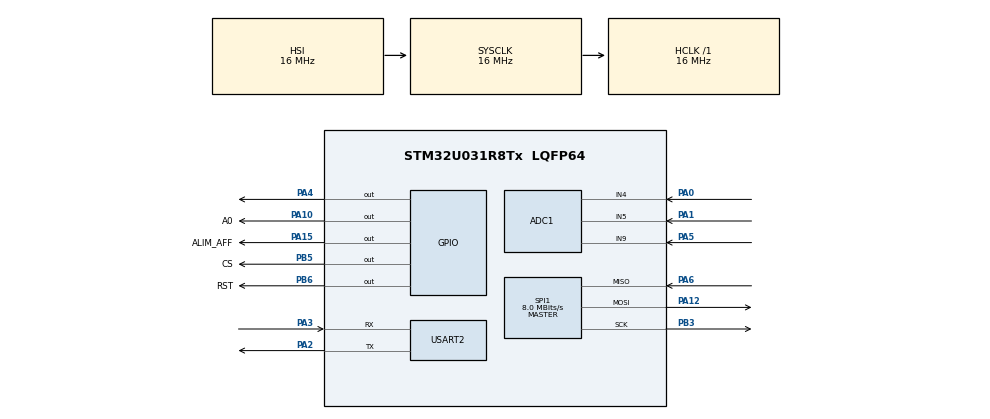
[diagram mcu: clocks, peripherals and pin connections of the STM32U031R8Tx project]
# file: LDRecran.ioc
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ADC1.Channel-7\#ChannelRegularConversion=ADC_CHANNEL_9
ADC1.Channel-8\#ChannelRegularConversion=ADC_CHANNEL_4
ADC1.ClockPrescaler=ADC_CLOCK_ASYNC_DIV4
ADC1.ContinuousConvMode=ENABLE
ADC1.DMAContinuousRequests=ENABLE
ADC1.DiscontinuousConvMode=DISABLE
ADC1.EnableAnalogWatchDog1=false
ADC1.LowPowerAutoWait=ENABLE
ADC1.NbrOfConversion=2
ADC1.NbrOfConversionFlag=1
ADC1.Overrun=ADC_OVR_DATA_OVERWRITTEN
ADC1.Rank-8\#ChannelRegularConversion=2
ADC1.RankArg-7\#ChannelRegularConversion=ADC_REGULAR_RANK_1
ADC1.RankArg-8\#ChannelRegularConversion=ADC_REGULAR_RANK_2
ADC1.SamplingTime-8\#ChannelRegularConversion=ADC_SAMPLINGTIME_COMMON_1
ADC1.SamplingTimeCommon1=ADC_SAMPLETIME_160CYCLES_5
ADC1.SamplingTimeCommon2=ADC_SAMPLETIME_160CYCLES_5
ADC1.SelectedChannel=ADC_CHANNEL_4|ADC_CHANNEL_5|ADC_CHANNEL_9|ADC_CHANNEL_VBAT
ADC1.master=1
Dma.ADC1.0.Direction=DMA_PERIPH_TO_MEMORY
Dma.ADC1.0.EventEnable=DISABLE
Dma.ADC1.0.Instance=DMA1_Channel1
Dma.ADC1.0.MemDataAlignment=DMA_MDATAALIGN_HALFWORD
Dma.ADC1.0.MemInc=DMA_MINC_ENABLE
Dma.ADC1.0.Mode=DMA_CIRCULAR
Dma.ADC1.0.PeriphDataAlignment=DMA_PDATAALIGN_HALFWORD
Dma.ADC1.0.PeriphInc=DMA_PINC_DISABLE
Dma.ADC1.0.Polarity=HAL_DMAMUX_REQ_GEN_RISING
Dma.ADC1.0.Priority=DMA_PRIORITY_LOW
Dma.ADC1.0.RequestNumber=1
Dma.ADC1.0.SignalID=NONE
Dma.ADC1.0.SyncEnable=DISABLE
Dma.ADC1.0.SyncPolarity=HAL_DMAMUX_SYNC_NO_EVENT
Dma.ADC1.0.SyncRequestNumber=1
Dma.ADC1.0.SyncSignalID=NONE
Dma.Request0=ADC1
Mcu.Family=STM32U0
Mcu.Name=STM32U031R8Tx
Mcu.Package=LQFP64
NUCLEO-U031R8.BUTTON=1
NUCLEO-U031R8.LD4=false
NUCLEO-U031R8.VCP=false
NVIC.ADC_COMP1_IRQn=true\:0\:0\:false\:false\:true\:true\:true\:true
NVIC.DMA1_Channel1_IRQn=true\:0\:0\:false\:false\:true\:false\:true\:true
NVIC.EXTI4_15_IRQn=true\:0\:0\:false\:false\:true\:false\:true\:true
NVIC.PriorityGroup=NVIC_PRIORITYGROUP_2
NVIC.RTC_TAMP_IRQn=true\:0\:0\:false\:false\:true\:true\:true\:true
NVIC.TIM6_DAC_LPTIM1_IRQn=true\:0\:0\:false\:false\:true\:true\:true\:true
PA0.Mode=IN4
PA0.Signal=ADC1_IN4
PA0.Stacked=true
PA1.Mode=IN5
PA1.Signal=ADC1_IN5
PA10.GPIO_Label=A0
PA10.Signal=GPIO_Output
PA12\ [PA10].Mode=Full_Duplex_Master
PA12\ [PA10].Signal=SPI1_MOSI
PA13\ (SWDIO).GPIO_Label=SWDIO
PA13\ (SWDIO).Signal=DEBUG_JTMS-SWDIO
PA14\ (SWCLK).GPIO_Label=SWCLK
PA14\ (SWCLK).Signal=DEBUG_JTCK-SWCLK
PA15.GPIO_Label=ALIM_AFF
PA15.Signal=GPIO_Output
PA2.Mode=Asynchronous
PA2.Signal=USART2_TX
PA2.Stacked=true
PA3.Mode=Asynchronous
PA3.Signal=USART2_RX
PA3.Stacked=true
PA4.Signal=GPIO_Output
PA4.Stacked=true
PA5.Mode=IN9
PA5.Signal=ADC1_IN9
PA6.Mode=Full_Duplex_Master
PA6.Signal=SPI1_MISO
PB3.Mode=Full_Duplex_Master
PB3.Signal=SPI1_SCK
PB5.GPIO_Label=CS
PB5.Signal=GPIO_Output
PB6.GPIO_Label=RST
PB6.Signal=GPIO_Output
PB8.GPIO_Label=I2C1_SCL
PB8.Signal=I2C1_SCL
PB9.GPIO_Label=I2C1_SDA
PB9.Signal=I2C1_SDA
PC14-OSC32_IN.GPIO_Label=OSC32_IN
PC14-OSC32_IN.Signal=RCC_OSC32_IN
PC15-OSC32_OUT.GPIO_Label=OSC32_OUT
PC15-OSC32_OUT.Signal=RCC_OSC32_OUT
PF0-OSC_IN.GPIO_Label=OSC_IN
PF0-OSC_IN.Signal=RCC_OSC_IN
PF1-OSC_OUT.GPIO_Label=OSC_OUT
PF1-OSC_OUT.Signal=RCC_OSC_OUT
ProjectManager.HeapSize=0x200
ProjectManager.StackSize=0x400
ProjectManager.TargetToolchain=STM32CubeIDE
RCC.AHBFreq_Value=16000000
RCC.CortexFreq_Value=16000000
RCC.HCLKFreq_Value=16000000
RCC.HSE_VALUE=4000000
RCC.HSI48_VALUE=48000000
RCC.HSI_VALUE=16000000
RCC.LSE_VALUE=32768
RCC.MSI_VALUE=4000000
RCC.SYSCLKFreq_VALUE=16000000
RCC.VCOOutputFreq_Value=64000000
SPI1.CalculateBaudRate=8.0 MBits/s
SPI1.Direction=SPI_DIRECTION_2LINES
SPI1.Mode=SPI_MODE_MASTER
SPI1.VirtualType=VM_MASTER
USART2.VirtualMode-Asynchronous=VM_ASYNC
VP_ADC1_Vbat_Input.Mode=IN-Vbat
VP_DAC1_VS_DACI1.Mode=DAC_OUT1_Int
VP_NUCLEO-U031R8_VS_BSP_COMMON.Mode=COMMON
VP_PWR_VS_SECSignals.Mode=Security/Privilege
VP_RTC_VS_RTC_Activate.Mode=RTC_Enabled
VP_RTC_VS_RTC_WakeUp_intern.Mode=WakeUp
board=NUCLEO-U031R8

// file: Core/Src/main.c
/* USER CODE BEGIN Header */
/**
  ******************************************************************************
  * @file           : main.c
  * @brief          : Main program body
  ******************************************************************************
  * @attention
  *
  * Copyright (c) 2026 STMicroelectronics.
  * All rights reserved.
  *
  * This software is licensed under terms that can be found in the LICENSE file
  * in the root directory of this software component.
  * If no LICENSE file comes with this software, it is provided AS-IS.
  *
  ******************************************************************************
  */
/* USER CODE END Header */
#include "main.h"

/* USER CODE BEGIN Includes */
#include "stdio.h"
#include "string.h"
#include "math.h"
// pour Ecran
#include <stdbool.h>
#include "lcd.h"
#include "graphics.h"
#include "bibliotheque.h"
#include "menu.h"
#include "variables_globales.h"
/* USER CODE END Includes */

/* USER CODE BEGIN PD */

  //==================================================================//
 //                DEFINITION PARTIE ÉNERGIE PILE                    //
//==================================================================//

// Définition des seuils basés sur la datasheet Energizer (4 piles en série)
#define V_100_Pourcent 6.0f //1.5V x 4
#define V_75_Pourcent   5.2f  // 1.3V x 4
#define V_50_Pourcent   4.8f  // 1.2V x 4
#define V_20_Pourcent   4.4f  // 1.1V x 4 (Point de rupture)
#define V_0_Pourcent    4.0f  // 1.0V x 4 (Seuil critique)

// Reglage de l'OFFSET pour la batterie
#define OFFSET_BAT 0.112f //retire 0,112V à la valeur finale

/* USER CODE END PD */

ADC_HandleTypeDef hadc1;
DMA_HandleTypeDef hdma_adc1;

DAC_HandleTypeDef hdac1;

RTC_HandleTypeDef hrtc;

SPI_HandleTypeDef hspi1;

UART_HandleTypeDef huart2;

/* USER CODE BEGIN PV */

uint32_t adc_buffer[2]; //[0] = IN5 (Rank1, LDR),  [1] = IN4 (Rank2, batterie)
volatile uint8_t adc_ready = 0; // flag levé par le DMA quand les données sont prêtes

/*----- Ecran Batterie ----- */
// Variables pour le menu LCD
uint8_t ON      = 0;
uint8_t DWN     = 0;
uint8_t HUP     = 0;
uint8_t RTN     = 0;
uint8_t ecran   = 0;
uint8_t langue  = 2;   // Français par défaut
uint8_t varmenu = 0;

// Variables temps RTC
RTC_TimeTypeDef sTime = {0};
time_t temps = 0;
struct tm tm_temps = {0};
int8_t UTC = 1;
int8_t absUTC = 1;

// Variables modes
uint8_t modeO = 1;
uint8_t modeF = 1;
int8_t  heureO = 7, minO = 0;
int8_t  heureF = 21, minF = 0;
int8_t  minretard = 0;
int8_t  minretardchange = 0;
int8_t  latitude = 48;
int16_t longitude = 2;
uint8_t choixi = 1;
uint8_t sens = 0;

// Variables boutons (pour menu.c)
uint8_t touche_ON  = 0;
uint8_t touche_HUP = 0;
uint8_t touche_DWN = 0;
uint8_t touche_RTN = 0;
int8_t  Touche_2_On = 0;
uint8_t Touche_3_On = 0;
uint16_t Compteur_appui_touche = 0;
short tempmescourant = 0;
uint32_t tensionpile = 0;

// UART série → commande écran
uint8_t uart_rx_byte = 0;

   //==================================================================//
  //                INITIALISATION PARTIE LUMINOSITÉ                  //
 //==================================================================//

// Variable pour la mesure de la luminosité
uint16_t adc_value = 0;
float voltage = 0.0f;
float R_ldr = 0.0f;
float lux = 0.0f;
char msg[100];

// Paramètres du montage
const float R_FIXED =  100000.0f; //22000.0f; // résistance de 100k // Mesure Luminosité
const float VCC = 3.3f;

  //==================================================================//
 //               INITIALISATION PARTIE ÉNERGIE PILE                 //
//==================================================================//

// Variable pour l'estimation de l'énergie
uint32_t adc_32 = 0;   // Valeur brute lue par l'ADC (0-4095)
uint16_t adc_bat_value = 0;   // Valeur brute lue par l'ADC (0-4095)
float v_bat_measurer = 0.0f;  // Tension lue sur la pin PA0
float v_bat_reel = 0.0f;      // Tension réelle de la pile (après correction du pont)
int bat_pourcentage = 0;       // Résultat final en %

// Paramètres du montage
const float R10 = 560000.0f; //res 560k Ohm
const float R11 = 330000.0f; //res 330k Ohm

// Pont Diviseur Pile
const float PDP_Bat_Coef= (R11+R10)/ R11;

// Seuil des Piles (6V)
const float V_MAX = 6.0f; // 100% //précédement mis à 6V
const float V_MIN = 4.0f; // 0%

//Lissage pour que le résultat soit stable
float v_bat_lisse = 0.0f;

//Nombre d'échantillons
const int nb_echantillons = 10;

   //==================================================================//
  //               		MISE EN VEILLE PROCESSEUR                     //
 //==================================================================//

//uint32_t duree_veille = 60000; // 120 000 ms = 2 minutes
uint8_t compteur_minutes = 0; // Compte les minutes en veille

//==================================================================//
//               		Pour écran Touche 			                //
//==================================================================//
uint8_t touche_ON;
uint8_t Drapeau_commande_recue = 0; // Le Drapeau de l'interruption
char rx_buffer[10]; // Tableau de stockage de la trame

/* USER CODE END PV */

void SystemClock_Config(void);
static void MX_GPIO_Init(void);
static void MX_DMA_Init(void);
static void MX_USART2_UART_Init(void);
static void MX_ADC1_Init(void);
static void MX_DAC1_Init(void);
static void MX_RTC_Init(void);
static void MX_SPI1_Init(void);
/* USER CODE BEGIN PFP */
uint8_t estimer_pourcentage_batterie(float v_bat_reel); // car besoin d'un prototype pour le pourcentage

//Prévient que l'outil existe (Prototype)
float lisser_tension_batterie(float nouvelle_lecture);

//Mise en veille du processeur
void Aller_Au_Dodo(void);

/*----- Ecran Batterie ----- */
void menu(void);

/* USER CODE END PFP */

/* USER CODE BEGIN 0 */
void lire_commandes(void) {
	if (Drapeau_commande_recue == true) {

		if (strcmp(rx_buffer, "ON") == 0) {
			touche_ON = 1;
			HAL_UART_Transmit(&huart2, (uint8_t*)"--> Action: ON\r\n", 16, 100);
		}
	}
}
/* USER CODE END 0 */

int main(void)
{

  /* MCU Configuration--------------------------------------------------------*/

  /* Reset of all peripherals, Initializes the Flash interface and the Systick. */
  HAL_Init();

  /* Configure the system clock */
  SystemClock_Config();

  /* Initialize all configured peripherals */
  MX_GPIO_Init();
  MX_DMA_Init();
  MX_USART2_UART_Init();
  MX_ADC1_Init();
  MX_DAC1_Init();
  MX_RTC_Init();
  MX_SPI1_Init();
  /* USER CODE BEGIN 2 */
  HAL_ADCEx_Calibration_Start(&hadc1);
  HAL_GPIO_WritePin(GPIOA, GPIO_PIN_4, GPIO_PIN_SET); // Alimente le pont diviseur
  HAL_Delay(10);
  HAL_ADC_Start_DMA(&hadc1, (uint32_t*)adc_buffer, 2); // Lance l'acquisition DMA en continu

  /*----- Ecran Batterie ----- */
  initialise_LCD();
  clearScreen(1);
  ecran = 0;
  HAL_UART_Receive_IT(&huart2, &uart_rx_byte, 1);

  // --- Initialisation écran LCD ---
  initialise_LCD();   // allume, reset hardware, init logicielle, efface l'écran
  clearScreen(1);
  ecran = 0;          // démarre sur l'écran 0 (attend appui ON)

  // --- Lancement réception UART en interruption ---
  HAL_UART_Receive_IT(&huart2, &uart_rx_byte, 1);

  //==================================================================//
 //                        PARTIE ÉNERGIE PILE                       //
//==================================================================//
  /* // --- LE PRÉCHAUFFAGE FORCÉ ---
    // On attend la toute première mesure réelle
    while(adc_ready == 0);

    // On récupère la valeur brute et on calcule la tension réelle
    float v_init = (((float)(adc_buffer[1] & 0xFFFF)) * VCC / 4095.0f * PDP_Bat_Coef) + OFFSET_BAT;
    // note : 0xFFFF correspond à 65535 (valeur max que l'on peu stocker dans un registre de 16 bits

    // On remplit le filtre 50 fois avec cette valeur pour le "gaver" immédiatement
    for(int i = 0; i < 50; i++) {
        v_bat_lisse = lisser_tension_batterie(v_init);
    }

*/

  // MISE EN VEILLE
  //Nettoyage de sécurité au démarrage
  __HAL_RTC_WAKEUPTIMER_CLEAR_FLAG(&hrtc, RTC_FLAG_WUTF);
    HAL_RTCEx_DeactivateWakeUpTimer(&hrtc);

    //Forcer l'activation de l'interruption RTC dans le contrôleur de la puce (NVIC)
    // Même si CubeMX est censé le faire, cette ligne sécurise le coup
    HAL_NVIC_SetPriority(RTC_TAMP_IRQn, 0, 0);
    HAL_NVIC_EnableIRQ(RTC_TAMP_IRQn);

  /* USER CODE END 2 */

  /* Initialize USER push-button, will be used to trigger an interrupt each time it's pressed.*/
  BSP_PB_Init(BUTTON_USER, BUTTON_MODE_EXTI);

  /* Infinite loop */
  /* USER CODE BEGIN WHILE */
  while (1)
    {
	  /*----- Ecran Batterie ----- */
	  menu();
	  //==================================================================//
	 //                          LANCEMENT DES ADC                       //
	//==================================================================//

      // Lecture de la tension sur PA5 (LDR_INFO) // mesurer luminosité
      /**HAL_ADC_Start(&hadc1);
      if (HAL_ADC_PollForConversion(&hadc1, 100) == HAL_OK)
      {
          adc_value = HAL_ADC_GetValue(&hadc1);
      }

      // Lecture de la tension sur PA0 // Estimation de batterie (PILE)
      if (HAL_ADC_PollForConversion(&hadc1, 100) == HAL_OK)
           {
               adc_bat_value = HAL_ADC_GetValue(&hadc1);
           }

      HAL_ADC_Stop(&hadc1);
*/
/*
      //==================================================================//
     //               		MISE EN VEILLE PROCESSEUR                    //
    //==================================================================//
	  // On rallume le pont AVANT de vérifier si l'ADC est prêt
	        HAL_GPIO_WritePin(GPIOA, GPIO_PIN_4, GPIO_PIN_SET);

	        // On laisse 150ms à la TENSION physique pour remonter et se stabiliser
	        // C'est ce délai qui va corriger ton "0.47V"
	        HAL_Delay(5000);
*/
	        // On attend que le DMA ait fini sa première nouvelle capture
	        while(adc_ready == 0);

	      if (adc_ready == 1)
	      {
	          adc_ready = 0;   // on remet le flag à 0

	  // Lecture DMA : les valeurs sont mises à jour automatiquement en fond de tâche
	  adc_32  = adc_buffer[0];
	  //adc_value     = adc_buffer[0];   // IN5 (PA5) — LDR luminosité
	  //adc_bat_value = adc_buffer[1];   // IN4 (PA4) — pont diviseur batterie
	  adc_value     = adc_32&0xFFFF;   // IN5 (PA5) — LDR luminosité
	  adc_bat_value = (adc_32&0xFFFF0000)>>16;   // IN4 (PA4) — pont diviseur batterie

      //==================================================================//
     //                          PARTIE LUMINOSITÉ                       //
    //==================================================================//

      //  Conversion : Chiffre ADC -> Tension (Volt)
      voltage = (float)adc_value * VCC / 4095.0;

      // Calcul de la partie entière et des deux premières décimales
      	  //int volt_entier = (int)voltage;
      	  //int volt_decimale = (int)((voltage - volt_entier) * 100);

      //  Calcul de la résistance de la LDR puis des Lux
      	  // On vérifie que voltage > 0 pour éviter de diviser par zéro
      if (voltage > 0.1f) {
          // Formule du pont diviseur inversée pour trouver R_ldr
          R_ldr = (VCC * R_FIXED/ voltage) - R_FIXED;

          // Formule d'approximation Lux (standard pour une LDR de 10k-100k)
          // Lux = 500 / (R_ldr en kOhm)
          //lux = 500.0 / (R_ldr / 1000.0);
          lux = pow(10,((log10(R_ldr/1000.0f)-2.94)/-0.789));
          //V1 pow(10,((log(R_ldr/1000.0f)-3)/-0.91)
          //V2 pow(10,((log10(R_ldr/1000.0f)-2.88)/-0.76))
      } else {
          lux = 0.0;
      }
      //Décomposition pour affichage sans %f
          int volt_entier = (int)voltage;
          int volt_dec    = (int)((voltage - volt_entier) * 100);
          int rldr_kohm   = (int)(R_ldr / 1000.0f);
          int lux_entier  = (int)lux;
          int lux_dec     = (int)((lux - lux_entier) * 10);

          //==================================================================//
         //                        PARTIE ÉNERGIE PILE                       //
        //==================================================================//

//LISSAGE DIRECT DE LA VALEUR BRUTE ADC
// On passe la valeur brute 'adc_bat_value' (0-4095) dans le filtre
        // float adc_bat_moyen = lisser_tension_batterie(adc_bat_value);

//Tension sur la PIN PA0 (entre 0 et 3.3V car elle ne prend que 3.3V)
          v_bat_measurer = ((float)adc_bat_value) * VCC / 4095.0;
			//v_bat_measurer = (adc_bat_moyen) * VCC / 4095.0;

// Tension Réel des piles (Application du Coef)
          //v_bat_reel = v_bat_measurer * PDP_Bat_Coef;
          v_bat_lisse = (v_bat_measurer * PDP_Bat_Coef) + OFFSET_BAT;

          // Lissage de V_bat_reel
         // v_bat_lisse = lisser_tension_batterie(v_bat_reel); // obtention d'une valeur stable

 /*         // Ajout de l'Offset pour corriger la mesure
          v_bat_reel = v_bat_reel + OFFSET_BAT;
 */
          HAL_Delay(100); // 10 mesures * 100ms = 1 seconde totale pour la moyenne

      //Calcul du pourcentage (Produit en croix entre V_MIN et V_MAX) -- Calcul linéaire -- pas bon car les piles n'ont pas une courbe linéaire
      if (v_bat_lisse > V_MIN){
    	  bat_pourcentage = (int)(((v_bat_lisse - V_MIN)/(V_MAX - V_MIN))*100.0f);
      } else {
    	  bat_pourcentage = 0;
      }

      // --- Calcul du pourcentage de l'Energie via la table de correspondance (table de correspondance) ---
      //uint8_t mon_pourcentage = estimer_pourcentage_batterie(v_bat_reel);

      // Sécurité pour ne pas afficher 102% ou -2%
          if (bat_pourcentage > 100) bat_pourcentage = 100;
          if (bat_pourcentage < 0)   bat_pourcentage = 0;

      //Décomposition pour affichage sans %f
          int v_entier = (int)v_bat_lisse;
          int v_dec = (int)((v_bat_lisse - v_entier) * 100);

          //==================================================================//
         //                       AFFICHAGE LIAISON SÉRIE                    //
        //==================================================================//

         //Affichage Luminosité
       // Affichage sur le PC (VCP / USART2)
      // On affiche l'entier (int)lux pour être sûr que ça s'affiche sans config spéciale
      //int len = sprintf(msg, "ADC: %lu |Tension : %d.%02dV | Lux estimat: %d\r\n", adc_value, voltage, (int)lux);
         int len = sprintf(msg, "ADC:%4lu | V:%d.%02dV | R_ldr:%d kohm | Lux:%d.%d\r\n", adc_value, volt_entier, volt_dec, rldr_kohm, lux_entier, lux_dec);
          HAL_UART_Transmit(&huart2, (uint8_t*)msg, len, HAL_MAX_DELAY);

/*          HAL_Delay(500); // On attend 0.5 secondes entre chaque mesure
*/

          //Affichage Batterie Restante
          int len2 = sprintf(msg, "BAT: %4lu | Tension: %d.%02dV | Energie: %d%%\r\n\r\n",
                  adc_bat_value, v_entier, v_dec, bat_pourcentage); // ancienne partie de code
        		  //adc_bat_value, v_entier, v_dec, mon_pourcentage);
              HAL_UART_Transmit(&huart2, (uint8_t*)msg, len2, 100);

             HAL_Delay(1000); // On attend 0.5 secondes entre chaque mesures

/*          int len3 = sprintf(msg, "BRUT_LDR: %lu | BRUT_BAT: %lu\r\n", adc_value, adc_bat_value);
              HAL_UART_Transmit(&huart2, (uint8_t*)msg, len3, 100);
*/
      // 5. COMMANDE DE LA LED (Seuil : 50 Lux)
      //if (lux < 50.0) {
      //    HAL_GPIO_WritePin(GPIOA, GPIO_PIN_4, GPIO_PIN_SET);   // Allume (Nuit)
      //} else {
      //    HAL_GPIO_WritePin(GPIOA, GPIO_PIN_4, GPIO_PIN_RESET); // Éteint (Jour)
      //}

              //==================================================================//
             //               		MISE EN VEILLE PROCESSEUR                    //
            //==================================================================//
/*
              // On éteint le pont diviseur (PA4) pour ne pas vider les piles pendant les 2 min
                    HAL_GPIO_WritePin(GPIOA, GPIO_PIN_4, GPIO_PIN_RESET);

             // On entre en mode sommeil (Sleep Mode) pour réduire la consommation du CPU
             // Le CPU s'arrêtera ici et se réveillera brièvement toutes les 1ms (SysTick) pour le Delay
                    HAL_PWR_EnterSLEEPMode(PWR_MAINREGULATOR_ON, PWR_SLEEPENTRY_WFI);

             // 3. On attend les 2 minutes
                    HAL_Delay(duree_veille);

            // 4. Au réveil, on rallume le pont diviseur pour la prochaine lecture
                    HAL_GPIO_WritePin(GPIOA, GPIO_PIN_4, GPIO_PIN_SET);

             // 5. On laisse un tout petit délai pour que la tension se stabilise avant la prochaine conversion
                    HAL_Delay(10);
*/
             /* Nettoyage des flags RTC */
             HAL_PWR_EnableBkUpAccess();
             HAL_RTCEx_DeactivateWakeUpTimer(&hrtc);
             __HAL_RTC_WAKEUPTIMER_CLEAR_FLAG(&hrtc, RTC_FLAG_WUTF);
             EXTI->RPR1 = (1 << 19);
             EXTI->FPR1 = (1 << 19);

             /* Armement : 299 = 5 minutes à 1Hz (RTC_WAKEUPCLOCK_CK_SPRE_16BITS) */
             /* Pour 5 min : valeur = (5 * 60) - 1 = 299                           */
             /* Pour 10 min : valeur = (10 * 60) - 1 = 599                         */
             if (HAL_RTCEx_SetWakeUpTimer_IT(&hrtc, 5,
                     RTC_WAKEUPCLOCK_CK_SPRE_16BITS, 0) == HAL_OK)
             {
                 Aller_Au_Dodo();
             }
             else
             {
                 NVIC_SystemReset();

	      }

	      }
    }
    /* USER CODE END WHILE */

}

void SystemClock_Config(void)
{
  RCC_OscInitTypeDef RCC_OscInitStruct = {0};
  RCC_ClkInitTypeDef RCC_ClkInitStruct = {0};

  /** Configure the main internal regulator output voltage
  */
  HAL_PWREx_ControlVoltageScaling(PWR_REGULATOR_VOLTAGE_SCALE2);

  /** Initializes the RCC Oscillators according to the specified parameters
  * in the RCC_OscInitTypeDef structure.
  */
  RCC_OscInitStruct.OscillatorType = RCC_OSCILLATORTYPE_HSI|RCC_OSCILLATORTYPE_LSI;
  RCC_OscInitStruct.HSIState = RCC_HSI_ON;
  RCC_OscInitStruct.HSICalibrationValue = RCC_HSICALIBRATION_DEFAULT;
  RCC_OscInitStruct.LSIState = RCC_LSI_ON;
  RCC_OscInitStruct.PLL.PLLState = RCC_PLL_NONE;
  if (HAL_RCC_OscConfig(&RCC_OscInitStruct) != HAL_OK)
  {
    Error_Handler();
  }

  /** Initializes the CPU, AHB and APB buses clocks
  */
  RCC_ClkInitStruct.ClockType = RCC_CLOCKTYPE_HCLK|RCC_CLOCKTYPE_SYSCLK
                              |RCC_CLOCKTYPE_PCLK1;
  RCC_ClkInitStruct.SYSCLKSource = RCC_SYSCLKSOURCE_HSI;
  RCC_ClkInitStruct.AHBCLKDivider = RCC_SYSCLK_DIV1;
  RCC_ClkInitStruct.APB1CLKDivider = RCC_HCLK_DIV1;

  if (HAL_RCC_ClockConfig(&RCC_ClkInitStruct, FLASH_LATENCY_1) != HAL_OK)
  {
    Error_Handler();
  }
}

static void MX_ADC1_Init(void)
{

  ADC_ChannelConfTypeDef sConfig = {0};

  /** Configure the global features of the ADC (Clock, Resolution, Data Alignment and number of conversion)
  */
  hadc1.Instance = ADC1;
  hadc1.Init.ClockPrescaler = ADC_CLOCK_ASYNC_DIV4;
  hadc1.Init.Resolution = ADC_RESOLUTION_12B;
  hadc1.Init.DataAlign = ADC_DATAALIGN_RIGHT;
  hadc1.Init.ScanConvMode = ADC_SCAN_ENABLE;
  hadc1.Init.EOCSelection = ADC_EOC_SINGLE_CONV;
  hadc1.Init.LowPowerAutoWait = ENABLE;
  hadc1.Init.LowPowerAutoPowerOff = DISABLE;
  hadc1.Init.ContinuousConvMode = ENABLE;
  hadc1.Init.NbrOfConversion = 2;
  hadc1.Init.DiscontinuousConvMode = DISABLE;
  hadc1.Init.ExternalTrigConv = ADC_SOFTWARE_START;
  hadc1.Init.ExternalTrigConvEdge = ADC_EXTERNALTRIGCONVEDGE_NONE;
  hadc1.Init.DMAContinuousRequests = ENABLE;
  hadc1.Init.Overrun = ADC_OVR_DATA_OVERWRITTEN;
  hadc1.Init.SamplingTimeCommon1 = ADC_SAMPLETIME_160CYCLES_5;
  hadc1.Init.SamplingTimeCommon2 = ADC_SAMPLETIME_160CYCLES_5;
  hadc1.Init.OversamplingMode = DISABLE;
  hadc1.Init.TriggerFrequencyMode = ADC_TRIGGER_FREQ_HIGH;
  if (HAL_ADC_Init(&hadc1) != HAL_OK)
  {
    Error_Handler();
  }

  /** Configure Regular Channel
  */
  sConfig.Channel = ADC_CHANNEL_9;
  sConfig.Rank = ADC_REGULAR_RANK_1;
  sConfig.SamplingTime = ADC_SAMPLINGTIME_COMMON_1;
  if (HAL_ADC_ConfigChannel(&hadc1, &sConfig) != HAL_OK)
  {
    Error_Handler();
  }

  /** Configure Regular Channel
  */
  sConfig.Channel = ADC_CHANNEL_4;
  sConfig.Rank = ADC_REGULAR_RANK_2;
  if (HAL_ADC_ConfigChannel(&hadc1, &sConfig) != HAL_OK)
  {
    Error_Handler();
  }

}

static void MX_DAC1_Init(void)
{

  DAC_ChannelConfTypeDef sConfig = {0};

  /** DAC Initialization
  */
  hdac1.Instance = DAC1;
  if (HAL_DAC_Init(&hdac1) != HAL_OK)
  {
    Error_Handler();
  }

  /** DAC channel OUT1 config
  */
  sConfig.DAC_SampleAndHold = DAC_SAMPLEANDHOLD_DISABLE;
  sConfig.DAC_Trigger = DAC_TRIGGER_NONE;
  sConfig.DAC_OutputBuffer = DAC_OUTPUTBUFFER_DISABLE;
  sConfig.DAC_ConnectOnChipPeripheral = DAC_CHIPCONNECT_INTERNAL;
  sConfig.DAC_UserTrimming = DAC_TRIMMING_FACTORY;
  if (HAL_DAC_ConfigChannel(&hdac1, &sConfig, DAC_CHANNEL_1) != HAL_OK)
  {
    Error_Handler();
  }

}

static void MX_RTC_Init(void)
{

  /** Initialize RTC Only
  */
  hrtc.Instance = RTC;
  hrtc.Init.HourFormat = RTC_HOURFORMAT_24;
  hrtc.Init.AsynchPrediv = 127;
  hrtc.Init.SynchPrediv = 255;
  hrtc.Init.OutPut = RTC_OUTPUT_DISABLE;
  hrtc.Init.OutPutRemap = RTC_OUTPUT_REMAP_NONE;
  hrtc.Init.OutPutPolarity = RTC_OUTPUT_POLARITY_HIGH;
  hrtc.Init.OutPutType = RTC_OUTPUT_TYPE_OPENDRAIN;
  hrtc.Init.OutPutPullUp = RTC_OUTPUT_PULLUP_NONE;
  hrtc.Init.BinMode = RTC_BINARY_NONE;
  if (HAL_RTC_Init(&hrtc) != HAL_OK)
  {
    Error_Handler();
  }

  /** Enable the WakeUp
  */
  if (HAL_RTCEx_SetWakeUpTimer_IT(&hrtc, 0, RTC_WAKEUPCLOCK_RTCCLK_DIV16, 0) != HAL_OK)
  {
    Error_Handler();
  }

}

static void MX_SPI1_Init(void)
{

  /* SPI1 parameter configuration*/
  hspi1.Instance = SPI1;
  hspi1.Init.Mode = SPI_MODE_MASTER;
  hspi1.Init.Direction = SPI_DIRECTION_2LINES;
  hspi1.Init.DataSize = SPI_DATASIZE_4BIT;
  hspi1.Init.CLKPolarity = SPI_POLARITY_LOW;
  hspi1.Init.CLKPhase = SPI_PHASE_1EDGE;
  hspi1.Init.NSS = SPI_NSS_SOFT;
  hspi1.Init.BaudRatePrescaler = SPI_BAUDRATEPRESCALER_2;
  hspi1.Init.FirstBit = SPI_FIRSTBIT_MSB;
  hspi1.Init.TIMode = SPI_TIMODE_DISABLE;
  hspi1.Init.CRCCalculation = SPI_CRCCALCULATION_DISABLE;
  hspi1.Init.CRCPolynomial = 7;
  hspi1.Init.CRCLength = SPI_CRC_LENGTH_DATASIZE;
  hspi1.Init.NSSPMode = SPI_NSS_PULSE_ENABLE;
  if (HAL_SPI_Init(&hspi1) != HAL_OK)
  {
    Error_Handler();
  }

}

static void MX_USART2_UART_Init(void)
{

  huart2.Instance = USART2;
  huart2.Init.BaudRate = 115200;
  huart2.Init.WordLength = UART_WORDLENGTH_8B;
  huart2.Init.StopBits = UART_STOPBITS_1;
  huart2.Init.Parity = UART_PARITY_NONE;
  huart2.Init.Mode = UART_MODE_TX_RX;
  huart2.Init.HwFlowCtl = UART_HWCONTROL_NONE;
  huart2.Init.OverSampling = UART_OVERSAMPLING_16;
  huart2.Init.OneBitSampling = UART_ONE_BIT_SAMPLE_DISABLE;
  huart2.Init.ClockPrescaler = UART_PRESCALER_DIV1;
  huart2.AdvancedInit.AdvFeatureInit = UART_ADVFEATURE_NO_INIT;
  if (HAL_UART_Init(&huart2) != HAL_OK)
  {
    Error_Handler();
  }
  if (HAL_UARTEx_SetTxFifoThreshold(&huart2, UART_TXFIFO_THRESHOLD_1_8) != HAL_OK)
  {
    Error_Handler();
  }
  if (HAL_UARTEx_SetRxFifoThreshold(&huart2, UART_RXFIFO_THRESHOLD_1_8) != HAL_OK)
  {
    Error_Handler();
  }
  if (HAL_UARTEx_DisableFifoMode(&huart2) != HAL_OK)
  {
    Error_Handler();
  }

}

static void MX_DMA_Init(void)
{

  /* DMA controller clock enable */
  __HAL_RCC_DMA1_CLK_ENABLE();

  /* DMA interrupt init */
  /* DMA1_Channel1_IRQn interrupt configuration */
  HAL_NVIC_SetPriority(DMA1_Channel1_IRQn, 0, 0);
  HAL_NVIC_EnableIRQ(DMA1_Channel1_IRQn);

}

static void MX_GPIO_Init(void)
{
  GPIO_InitTypeDef GPIO_InitStruct = {0};

  /* GPIO Ports Clock Enable */
  __HAL_RCC_GPIOC_CLK_ENABLE();
  __HAL_RCC_GPIOF_CLK_ENABLE();
  __HAL_RCC_GPIOA_CLK_ENABLE();
  __HAL_RCC_GPIOB_CLK_ENABLE();

  /*Configure GPIO pin Output Level */
  HAL_GPIO_WritePin(GPIOA, GPIO_PIN_4|A0_Pin|ALIM_AFF_Pin, GPIO_PIN_RESET);

  /*Configure GPIO pin Output Level */
  HAL_GPIO_WritePin(GPIOB, CS_Pin|RST_Pin, GPIO_PIN_RESET);

  /*Configure GPIO pins : PA4 A0_Pin ALIM_AFF_Pin */
  GPIO_InitStruct.Pin = GPIO_PIN_4|A0_Pin|ALIM_AFF_Pin;
  GPIO_InitStruct.Mode = GPIO_MODE_OUTPUT_PP;
  GPIO_InitStruct.Pull = GPIO_NOPULL;
  GPIO_InitStruct.Speed = GPIO_SPEED_FREQ_LOW;
  HAL_GPIO_Init(GPIOA, &GPIO_InitStruct);

  /*Configure GPIO pins : CS_Pin RST_Pin */
  GPIO_InitStruct.Pin = CS_Pin|RST_Pin;
  GPIO_InitStruct.Mode = GPIO_MODE_OUTPUT_PP;
  GPIO_InitStruct.Pull = GPIO_NOPULL;
  GPIO_InitStruct.Speed = GPIO_SPEED_FREQ_LOW;
  HAL_GPIO_Init(GPIOB, &GPIO_InitStruct);

  /*Configure GPIO pins : I2C1_SCL_Pin I2C1_SDA_Pin */
  GPIO_InitStruct.Pin = I2C1_SCL_Pin|I2C1_SDA_Pin;
  GPIO_InitStruct.Mode = GPIO_MODE_AF_OD;
  GPIO_InitStruct.Pull = GPIO_NOPULL;
  GPIO_InitStruct.Speed = GPIO_SPEED_FREQ_LOW;
  GPIO_InitStruct.Alternate = GPIO_AF4_I2C1;
  HAL_GPIO_Init(GPIOB, &GPIO_InitStruct);

}

/* USER CODE BEGIN 4 */

// Callback appelé automatiquement par le DMA quand les 2 canaux sont convertis
void HAL_ADC_ConvCpltCallback(ADC_HandleTypeDef* hadc)
{
    if (hadc->Instance == ADC1)
    {
        adc_ready = 1;   // lève le flag → le while(1) va traiter les données
    }
}
/*----- Ecran Batterie ----- */
void HAL_UART_RxCpltCallback(UART_HandleTypeDef *huart)
{
    if (huart->Instance == USART2)
    {
        static char    cmd[8] = {0};
        static uint8_t idx    = 0;
        char c = (char)uart_rx_byte;

        if (c == '\r' || c == '\n')
        {
            cmd[idx] = '\0';
            if      (idx==2 && cmd[0]=='O' && cmd[1]=='N')                { ON=1; touche_ON=1;  }
            else if (idx==3 && cmd[0]=='R' && cmd[1]=='T' && cmd[2]=='N') { RTN=1; touche_RTN=1; }
            else if (idx==3 && cmd[0]=='H' && cmd[1]=='U' && cmd[2]=='P') { HUP=1; touche_HUP=1; }
            else if (idx==3 && cmd[0]=='D' && cmd[1]=='W' && cmd[2]=='N') { DWN=1; touche_DWN=1; }
            idx = 0;
        }
        else if (idx < 7) { cmd[idx++] = c; }
        else              { idx = 0; }

        HAL_UART_Receive_IT(huart, &uart_rx_byte, 1);
    }
}

	  //==================================================================//
	 //               PARTIE ÉNERGIE PILE - Fonction                     //
	//==================================================================//

// Estimation pourcentage batterie grace à la table de correspondance
/**
uint8_t estimer_pourcentage_batterie(float v_bat_reel) {
    uint8_t pourcentage;

    // Application de la table de correspondance (Look-up Table)
    if (v_bat_reel >= V_100_Pourcent) {
        pourcentage = 100;
    }
    else if (v_bat_reel >= V_75_Pourcent) {
        pourcentage = 75; // Zone de plateau stable
    }
    else if (v_bat_reel >= V_50_Pourcent) {
        pourcentage = 50; // Milieu de décharge
    }
    else if (v_bat_reel >= V_20_Pourcent) {
        pourcentage = 20; // Entrée dans le coude de fin de vie
    }
    else if (v_bat_reel >= V_0_Pourcent) {
        pourcentage = 5;  // Alerte critique avant coupure
    }
    else {
        pourcentage = 0;  // Pile vide selon les standards industriels
    }

    return pourcentage;
}
*/

    // Calcul de la moyenne pour la tension de batterie
    float lisser_tension_batterie(float nouvelle_lecture_adc) {
    	static float historique [100] = {0}; // tableau qui reste en mémoire (static) //garde les 50 dernière valeur en mémoire
    	static int index = 0;
    	float somme = 0;

    // Affichage immédiat
   	static int premier_passage = 1; // Flag pour le démarrage pour stabilité imédiate

    //Fonctionnement pour stabilité imédiate - Ajout de la nouvelle mesure dans le tableau
    	if (premier_passage) {
    	        for (int i = 0; i < nb_echantillons; i++) {
    	            historique[i] = (float) nouvelle_lecture_adc; // On remplit tout le tableau avec la 1ère mesure
    	        }
    	        premier_passage = 0;
    	        return (float) nouvelle_lecture_adc;
    	    }

    // Fonctionnement Normal -- Ajout de la nouvelle mesure dans le tableau
    historique[index] = nouvelle_lecture_adc;
    index = (index + 1) % nb_echantillons; // On boucle de 0 à 49

    // Fonctionnement Normal -- Calcul de la moyenne
    for (int i = 0; i < nb_echantillons; i++) {
    	 somme += historique[i];
    }
    return somme / (float)nb_echantillons;
 }

	  //==================================================================//
	 //             MISE EN VEILLE PROCESSEUR - Fonction                 //
	//==================================================================//

   /* void HAL_TIM_PeriodElapsedCallback(TIM_HandleTypeDef *htim)
    {
        if (htim->Instance == TIM2) // à testé avec ADC1
        {
            // Cette fonction est appelée automatiquement par le processeur
            // à chaque fois que la minute est écoulée. Elle sert juste à valider le réveil.
        }
    }
 */
/* - V1 de fonction dodo
    void Aller_Au_Dodo(void)
    {
    //On coupe l'ADC pour qu'il arrête de consommer
        HAL_ADC_Stop_DMA(&hadc1);
    //On éteint le pont diviseur (PA4) pour économiser la batterie (des piles)
        HAL_GPIO_WritePin(GPIOA, GPIO_PIN_4, GPIO_PIN_RESET);

    //ON COUPE LE PORT SÉRIE (UART)
    // On démonte le périphérique pour couper son horloge interne
        HAL_UART_DeInit(&huart2);

    // On force les broches TX/RX (PA2 et PA3) en mode Analogique pour couper les fuites de courant
        GPIO_InitTypeDef GPIO_InitStruct = {0};
        GPIO_InitStruct.Pin = GPIO_PIN_2 | GPIO_PIN_3;
        GPIO_InitStruct.Mode = GPIO_MODE_ANALOG;
        GPIO_InitStruct.Pull = GPIO_NOPULL;
        HAL_GPIO_Init(GPIOA, &GPIO_InitStruct);
   // On coupe le SysTick (l'horloge interne de 1ms qui empêcherait le dodo)
        HAL_SuspendTick();

  //Nettoyage pour éviter blocage
   //vide de force la boîte aux lettres du TIM2 avant de dormir
        __HAL_TIM_CLEAR_FLAG(&htim2, TIM_FLAG_UPDATE);

   // On force le processeur à oublier l'interruption passée du TIM2
         HAL_NVIC_ClearPendingIRQ(TIM2_IRQn);

   // On force le processeur à oublier l'interruption passée du SysTick
         HAL_NVIC_ClearPendingIRQ(SysTick_IRQn);

         // On démarre notre alarme (le TIM2 va compter 1 minute)
        HAL_TIM_Base_Start_IT(&htim2);

   // LE PROCESSEUR PLONGE EN MODE SLEEP
        HAL_PWR_EnterSLEEPMode(PWR_MAINREGULATOR_ON, PWR_SLEEPENTRY_WFI);

   // ------------ Reveil de TIM2 après 1 Minute --------- //

   // On arrête immédiatement le timer pour qu'il ne re-sonne pas en boucle
        HAL_TIM_Base_Stop_IT(&htim2);

  //On réactive le SysTick pour que le système reprenne son cours normal
        HAL_ResumeTick();
    }
*/
    void Aller_Au_Dodo(void)
    {
        /* ── 1. Attendre que l'UART finisse d'envoyer ── */
        HAL_UART_DeInit(&huart2);
        __HAL_RCC_USART2_CLK_DISABLE();

        /* ── 2. Arrêter l'ADC et le DMA proprement ── */
        HAL_ADC_Stop_DMA(&hadc1);
        adc_ready = 0;

        /* ── 3. Éteindre le pont diviseur ── */
        HAL_GPIO_WritePin(GPIOA, GPIO_PIN_4, GPIO_PIN_RESET);

      /* ── 4. Mettre toutes les GPIO en analogique (zéro fuite) ── */
  /*      GPIO_InitTypeDef GPIO_Blank = {0};
        GPIO_Blank.Mode  = GPIO_MODE_ANALOG;
        GPIO_Blank.Pull  = GPIO_NOPULL;
        GPIO_Blank.Pin   = GPIO_PIN_ALL;
        HAL_GPIO_Init(GPIOA, &GPIO_Blank);
        HAL_GPIO_Init(GPIOB, &GPIO_Blank);
        HAL_GPIO_Init(GPIOC, &GPIO_Blank);
*/
  /*      //préserve les broches SPI/LCD)
        GPIO_Blank.Pin = GPIO_PIN_2 | GPIO_PIN_3 | GPIO_PIN_4;
        HAL_GPIO_Init(GPIOA, &GPIO_Blank);
*/
        /* ── 5. Couper le SysTick ── */
        CLEAR_BIT(SysTick->CTRL, SysTick_CTRL_TICKINT_Msk);

        /* ── 6. STOP MODE 1 — ~10µA ── */
        HAL_PWREx_EnterSTOP1Mode(PWR_STOPENTRY_WFI);
        //HAL_PWR_EnterSLEEPMode(PWR_LOWPOWERREGULATOR_ON, PWR_SLEEPENTRY_WFI);
        /*  RÉVEIL PAR LA RTC  */

        /* ── 7. Reconfigurer l'horloge (obligatoire après Stop Mode) ── */
        SystemClock_Config();

        /* ── 8. Réactiver le SysTick ── */
        SET_BIT(SysTick->CTRL, SysTick_CTRL_TICKINT_Msk);
        HAL_ResumeTick();

        /* ── 9. Restaurer les GPIO selon CubeMX ── */
        MX_GPIO_Init();

        /* ── 10. Rallumer l'UART ── */
        __HAL_RCC_USART2_CLK_ENABLE();
        MX_USART2_UART_Init();

        /* ── 11. Rallumer le pont diviseur et relancer l'ADC ── */
        HAL_GPIO_WritePin(GPIOA, GPIO_PIN_4, GPIO_PIN_SET);
        HAL_Delay(10); /* stabilisation du pont */
        HAL_ADCEx_Calibration_Start(&hadc1);
        HAL_ADC_Start_DMA(&hadc1, (uint32_t*)adc_buffer, 2);

        HAL_GPIO_WritePin(ALIM_AFF_GPIO_Port, ALIM_AFF_Pin, GPIO_PIN_RESET);
        HAL_Delay(20);
    }

    // Cette fonction est appelée automatiquement par la HAL dès que la RTC se réveille
    void HAL_RTCEx_WakeUpTimerEventCallback(RTC_HandleTypeDef *hrtc)
    {
        // Ce callback est indispensable : sa simple présence indique à la HAL
        // qu'elle doit nettoyer les registres d'interruption de la RTC.
        __HAL_RTC_WAKEUPTIMER_CLEAR_FLAG(hrtc, RTC_FLAG_WUTF);
    }
/* USER CODE END 4 */

void Error_Handler(void)
{
  __disable_irq();
  while (1)
  {
  }
}
